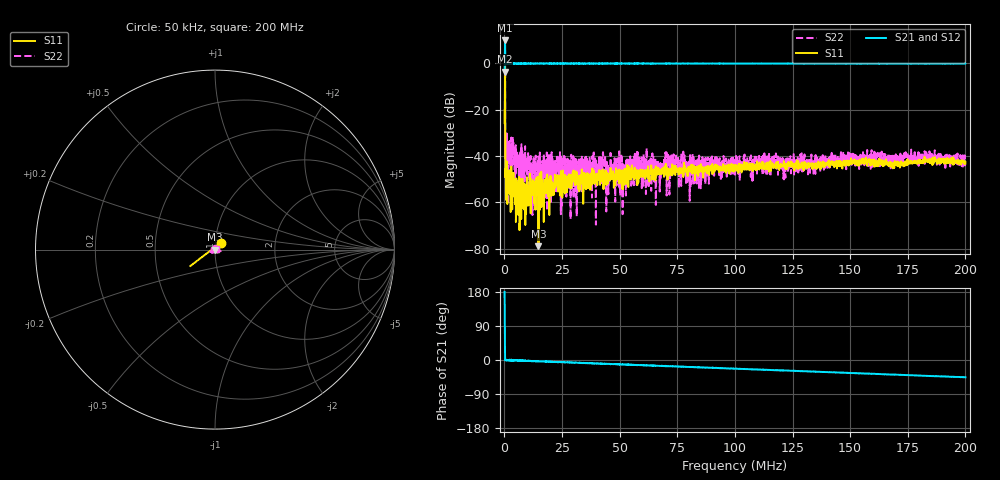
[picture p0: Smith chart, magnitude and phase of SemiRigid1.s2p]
! 19-Feb-26 3:02:28 PM
! E:\VNA_MEASUREMENTS\RECBLOCK\SEMIRIGID1.S2P
! CHANNEL.1
! TR.MEASUREMENT
! CORRECTED.DATA
# GHZ S RI R 50.0
! FREQ.GHZ  S11RE  S11IM  S21RE  S21IM  S12RE  S12IM  S22RE  S22IM
!; PortSelection: Port_12
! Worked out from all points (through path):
!   2000 points, 50 kHz to 200 MHz, reference 50 ohm
!   highest |S21| = 9.94 dB at 250 kHz (marker M1); lowest = -3.5 dB at 50 kHz (marker M2)
!   lowest |S11| = -78.9 dB at 14.75 MHz (marker M3), VSWR 1.00, Z = 50 + j0.00188 ohm
!   |S11| at or under -10 dB: start of sweep to 176.5 kHz; 285 kHz to end of sweep
!   |S22| runs from -69.6 to 3.8 dB; largest |S21 - S12| = 3.5
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5e-05  0.0331 0.0393  -0.6703 0.00234  0.9645 0.0253  -0.2361 -1.213
0.00025005  -1.935 -0.1221  3.117 0.3918  -0.3332 -0.3973  1.416 0.61
0.001150275  -0.000676 0.000856  1.001 0.00725  0.9979 -0.00675  0.00066 0.00865
0.0016504  0.0016 0.000136  0.9884 0.00185  1.007 -0.00314  -0.00606 0.00747
0.003150775  -0.000498 0.00224  0.9953 -0.0223  1.001 -0.0157  -0.00392 -0.00469
0.005651401  -0.00106 0.00226  0.9986 -0.0162  0.9921 -0.0203  0.0017 0.00555
0.01475368  0.000112 1.88e-05  0.9901 -0.0544  0.9973 -0.0578  0.0028 0.00781
0.02555638  0.00186 0.00101  0.9883 -0.1061  0.9896 -0.101  0.000822 0.00571
0.03095773  0.00247 0.004  0.995 -0.121  0.9897 -0.1262  0.000943 -0.00085
0.03345835  -0.000141 0.00258  0.9949 -0.1287  0.9932 -0.134  0.000652 -0.00162
0.04306075  0.00104 0.00306  0.9913 -0.1691  0.9822 -0.1717  -0.00278 0.00264
0.04486121  0.00175 0.00194  0.9862 -0.179  0.9836 -0.1771  -0.000424 0.00425
0.04676168  0.00122 0.00306  0.9759 -0.1851  0.9839 -0.1848  0.00472 0.00188
0.05196298  0.00179 0.00161  0.978 -0.1985  0.9779 -0.2036  -0.0024 0.000907
0.05846461  0.0028 0.00377  0.9727 -0.2367  0.9698 -0.2316  0.00607 0.00588
0.06676668  0.00364 0.00333  0.9592 -0.2661  0.9635 -0.2645  0.00367 0.00195
0.07296823  0.00312 0.00358  0.9569 -0.2865  0.9536 -0.2883  0.00402 0.00535
0.07936983  0.00431 0.0032  0.9478 -0.3137  0.9475 -0.3125  0.0037 0.00295
0.100075  0.00456 0.00333  0.9198 -0.3925  0.9166 -0.3864  0.00146 0.00368
0.1333833  0.00478 0.00253  0.8593 -0.5027  0.8598 -0.5036  0.00423 0.00478
0.1666917  0.00598 0.00311  0.7861 -0.6125  0.7797 -0.612  0.00757 0.00577
0.2  0.00686 0.00219  0.7004 -0.7106  0.6932 -0.7081  0.00421 0.00433
